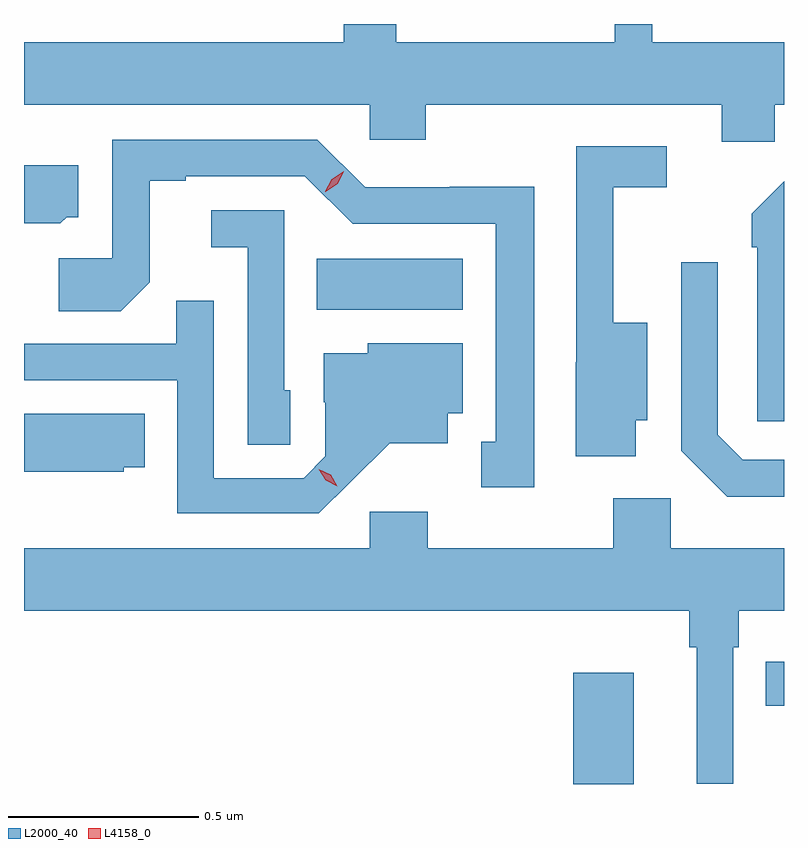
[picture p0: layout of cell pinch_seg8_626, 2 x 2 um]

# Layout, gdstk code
import gdstk
lib = gdstk.Library(unit=1e-6, precision=1e-09)
def R(c, l, rs):  # rectangles x0, y0, x1, y1
    for r in rs: c.add(gdstk.rectangle(r[:2], r[2:], *l))
def P(c, l, *ps):  # polygons
    for p in ps: c.add(gdstk.Polygon(p, *l))
L2000_40 = (2000, 40)
L4158_0 = (4158, 0)

pinch_seg8_626 = lib.new_cell('pinch_seg8_626')
R(pinch_seg8_626, L2000_40, [(122.726,1100.06,122.884,1100.353), (123.232,1100.266,123.28,1100.382), (122.05,1101.308,122.434,1101.442)])
P(pinch_seg8_626, L2000_40, [(123.255,1101.848),(123.28,1101.848),(123.28,1102.012),(122.933,1102.012),(122.933,1102.06),(122.834,1102.06),(122.834,1102.012),(122.26,1102.012),(122.26,1102.06),(122.121,1102.06),(122.121,1102.012),(121.28,1102.012),(121.28,1101.848),(122.19,1101.848),(122.19,1101.755),(122.337,1101.755),(122.337,1101.848),(123.116,1101.848),(123.116,1101.75),(123.255,1101.75)],
  [(122.623,1101.632),(122.4,1101.632),(122.4,1101.63),(122.178,1101.63),(122.052,1101.756),(121.512,1101.756),(121.512,1101.444),(121.371,1101.444),(121.371,1101.304),(121.535,1101.304),(121.611,1101.38),(121.611,1101.648),(121.705,1101.648),(121.705,1101.66),(122.019,1101.66),(122.145,1101.534),(122.522,1101.534),(122.522,1100.961),(122.483,1100.961),(122.483,1100.841),(122.623,1100.841)],
  [(122.89,1101.017),(122.92,1101.017),(122.92,1101.274),(122.831,1101.274),(122.831,1101.63),(122.971,1101.63),(122.971,1101.738),(122.733,1101.738),(122.733,1101.17),(122.732,1101.17),(122.732,1100.922),(122.89,1100.922)],
  [(121.392,1101.552),(121.423,1101.552),(121.423,1101.688),(121.28,1101.688),(121.28,1101.536),(121.376,1101.536)],
  [(123.28,1101.646),(123.195,1101.561),(123.195,1101.473),(123.21,1101.473),(123.21,1101.015),(123.28,1101.015)],
  [(121.98,1101.096),(121.965,1101.096),(121.965,1101.57),(121.773,1101.57),(121.773,1101.473),(121.869,1101.473),(121.869,1100.953),(121.98,1100.953)],
  [(123.28,1100.913),(123.171,1100.913),(123.105,1100.979),(123.105,1101.433),(123.009,1101.433),(123.009,1100.937),(123.13,1100.816),(123.28,1100.816)],
  [(122.14,1100.855),(122.243,1100.957),(122.395,1100.957),(122.395,1101.036),(122.434,1101.036),(122.434,1101.22),(122.184,1101.22),(122.184,1101.193),(122.069,1101.193),(122.069,1101.064),(122.073,1101.064),(122.073,1100.922),(122.016,1100.865),(121.779,1100.865),(121.779,1101.332),(121.681,1101.332),(121.681,1101.219),(121.28,1101.219),(121.28,1101.123),(121.683,1101.123),(121.683,1100.772),(122.056,1100.772)],
  [(121.542,1100.894),(121.598,1100.894),(121.598,1101.034),(121.28,1101.034),(121.28,1100.882),(121.542,1100.882)],
  [(122.982,1100.812),(122.831,1100.812),(122.831,1100.68),(122.342,1100.68),(122.342,1100.776),(122.19,1100.776),(122.19,1100.68),(121.28,1100.68),(121.28,1100.516),(123.031,1100.516),(123.031,1100.42),(123.05,1100.42),(123.05,1100.061),(123.147,1100.061),(123.147,1100.42),(123.161,1100.42),(123.161,1100.516),(123.28,1100.516),(123.28,1100.68),(122.982,1100.68)])
P(pinch_seg8_626, L4158_0, [(122.073,1101.619),(122.073,1101.62),(122.09,1101.652),(122.121,1101.672),(122.122,1101.672),(122.122,1101.671),(122.105,1101.639),(122.074,1101.619)],
  [(122.104,1100.844),(122.074,1100.859),(122.056,1100.888),(122.056,1100.888),(122.056,1100.888),(122.087,1100.874),(122.104,1100.844),(122.104,1100.844)])

lib.write_gds('pinch_seg8_626.gds')
